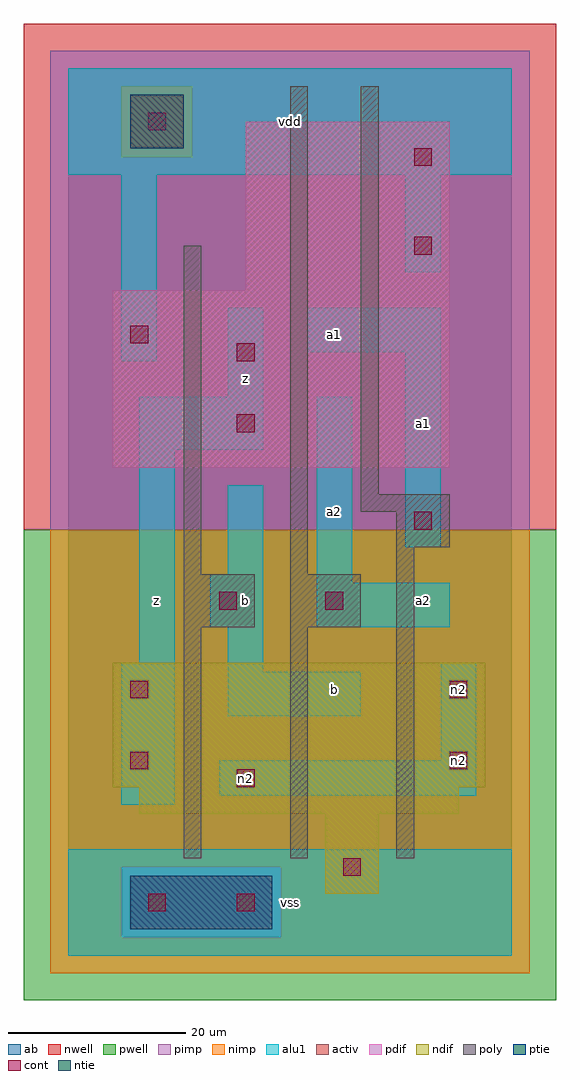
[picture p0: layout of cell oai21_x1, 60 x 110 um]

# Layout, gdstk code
import gdstk
lib = gdstk.Library(unit=1e-6, precision=1e-09)
def R(c, l, rs):  # rectangles x0, y0, x1, y1
    for r in rs: c.add(gdstk.rectangle(r[:2], r[2:], *l))
ndif = (3, 0)
pdif = (4, 0)
ntie = (5, 0)
ptie = (6, 0)
cont = (25, 0)
pwell = (41, 0)
nwell = (42, 0)
activ = (43, 0)
pimp = (44, 0)
nimp = (45, 0)
poly = (46, 0)
alu1 = (49, 0)
ab = (63, 0)

oai21_x1 = lib.new_cell('oai21_x1')
R(oai21_x1, ndif, [(29,7,35,16), (8,16,44,19), (5,19,47,33)])
R(oai21_x1, pdif, [(5,55,43,75), (20,75,43,94)])
R(oai21_x1, ntie, [(7,91,13,97)])
R(oai21_x1, ptie, [(7,3,23,9)])
R(oai21_x1, cont, [(9,5,11,7), (19,5,21,7), (31,9,33,11), (19,19,21,21), (7,21,9,23), (43,21,45,23), (7,29,9,31), (43,29,45,31), (17,39,19,41), (29,39,31,41), (39,48,41,50), (19,59,21,61), (19,67,21,69), (7,69,9,71), (39,79,41,81), (39,89,41,91), (9,93,11,95)])
R(oai21_x1, pwell, [(-5,-5,55,48)])
R(oai21_x1, nwell, [(-5,48,55,105)])
R(oai21_x1, activ, [(7,3,23,9), (29,7,35,16), (8,16,44,19), (5,19,47,33), (5,55,43,75), (20,75,43,94), (7,91,13,97)])
R(oai21_x1, pimp, [(6,2,24,10), (-2,48,52,90), (-2,90,6,98), (14,90,52,98), (-2,98,52,102)])
R(oai21_x1, nimp, [(-2,-2,52,2), (-2,2,6,10), (24,2,52,10), (-2,10,52,48), (6,90,14,98)])
R(oai21_x1, poly, [(13,11,15,37), (25,11,27,37), (37,11,39,46), (13,37,21,43), (25,37,33,43), (13,43,15,80), (25,43,27,98), (37,46,43,50), (33,50,43,52), (33,52,35,98)])
R(oai21_x1, alu1, [(0,0,50,12), (6,17,12,33), (17,18,46,22), (42,22,46,33), (18,27,33,32), (18,32,22,37), (8,33,12,57), (16,37,22,43), (28,37,43,42), (28,42,32,63), (18,43,22,53), (38,46,42,68), (8,57,22,63), (18,63,22,73), (6,67,10,88), (27,68,42,73), (38,77,42,88), (0,88,50,100)])
R(oai21_x1, ab, [(0,0,50,100)])
oai21_x1.add(gdstk.Label('n2', (20,20), layer=49, texttype=0))
oai21_x1.add(gdstk.Label('n2', (44,22), layer=49, texttype=0))
oai21_x1.add(gdstk.Label('n2', (44,30), layer=49, texttype=0))
oai21_x1.add(gdstk.Label('z', (10,40), layer=49, texttype=0))
oai21_x1.add(gdstk.Label('b', (20,40), layer=49, texttype=0))
oai21_x1.add(gdstk.Label('z', (20,65), layer=49, texttype=0))
oai21_x1.add(gdstk.Label('vss', (25,6), layer=49, texttype=0))
oai21_x1.add(gdstk.Label('b', (30,30), layer=49, texttype=0))
oai21_x1.add(gdstk.Label('a2', (30,50), layer=49, texttype=0))
oai21_x1.add(gdstk.Label('a1', (30,70), layer=49, texttype=0))
oai21_x1.add(gdstk.Label('vdd', (25,94), layer=49, texttype=0))
oai21_x1.add(gdstk.Label('a2', (40,40), layer=49, texttype=0))
oai21_x1.add(gdstk.Label('a1', (40,60), layer=49, texttype=0))

lib.write_gds('oai21_x1.gds')
